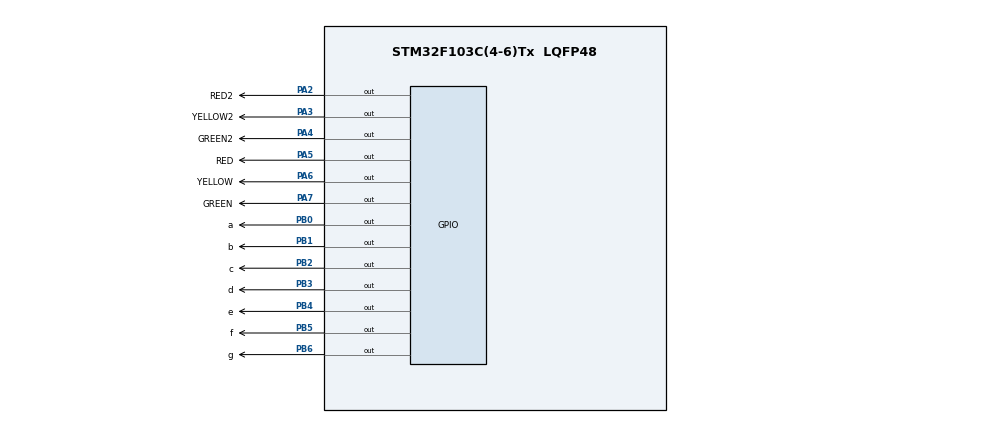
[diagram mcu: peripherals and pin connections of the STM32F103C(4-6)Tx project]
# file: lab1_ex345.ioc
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Mcu.Family=STM32F1
Mcu.Name=STM32F103C(4-6)Tx
Mcu.Package=LQFP48
NVIC.PriorityGroup=NVIC_PRIORITYGROUP_4
PA2.GPIO_Label=RED2
PA2.Signal=GPIO_Output
PA3.GPIO_Label=YELLOW2
PA3.Signal=GPIO_Output
PA4.GPIO_Label=GREEN2
PA4.Signal=GPIO_Output
PA5.GPIO_Label=RED
PA5.Signal=GPIO_Output
PA6.GPIO_Label=YELLOW
PA6.Signal=GPIO_Output
PA7.GPIO_Label=GREEN
PA7.Signal=GPIO_Output
PB0.GPIO_Label=a
PB0.Signal=GPIO_Output
PB1.GPIO_Label=b
PB1.Signal=GPIO_Output
PB2.GPIO_Label=c
PB2.Signal=GPIO_Output
PB3.GPIO_Label=d
PB3.Signal=GPIO_Output
PB4.GPIO_Label=e
PB4.Signal=GPIO_Output
PB5.GPIO_Label=f
PB5.Signal=GPIO_Output
PB6.GPIO_Label=g
PB6.Signal=GPIO_Output
PD0-OSC_IN.Mode=HSE-External-Oscillator
PD0-OSC_IN.Signal=RCC_OSC_IN
PD1-OSC_OUT.Mode=HSE-External-Oscillator
PD1-OSC_OUT.Signal=RCC_OSC_OUT
ProjectManager.HeapSize=0x200
ProjectManager.StackSize=0x400
ProjectManager.TargetToolchain=STM32CubeIDE
RCC.APB1Freq_Value=8000000
RCC.APB2Freq_Value=8000000
VP_SYS_VS_ND.Mode=No_Debug
board=custom

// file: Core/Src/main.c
/* USER CODE BEGIN Header */
/**
  ******************************************************************************
  * @file           : main.c
  * @brief          : Main program body
  ******************************************************************************
  * @attention
  *
  * <h2><center>&copy; Copyright (c) 2021 STMicroelectronics.
  * All rights reserved.</center></h2>
  *
  * This software component is licensed by ST under BSD 3-Clause license,
  * the "License"; You may not use this file except in compliance with the
  * License. You may obtain a copy of the License at:
  *                        opensource.org/licenses/BSD-3-Clause
  *
  ******************************************************************************
  */
/* USER CODE END Header */
#include "main.h"

void SystemClock_Config(void);
static void MX_GPIO_Init(void);

int main(void)
{

  /* MCU Configuration--------------------------------------------------------*/

  /* Reset of all peripherals, Initializes the Flash interface and the Systick. */
  HAL_Init();

  /* Configure the system clock */
  SystemClock_Config();

  /* Initialize all configured peripherals */
  MX_GPIO_Init();

  /* Infinite loop */
  /* USER CODE BEGIN WHILE */
  int counter=0 ;
  int i;
  while (1)
  {
    /* USER CODE END WHILE */

    /* USER CODE BEGIN 3 */
	  HAL_GPIO_TogglePin(GPIOA, GREEN2_Pin);
	  HAL_GPIO_TogglePin(GPIOA, RED_Pin);
	  for(i = 0;i<=9;i++){
    	  if( counter >= 10) counter = 0;
    	  display7SEG(counter++);
    	  if(i==2){
    		  HAL_GPIO_TogglePin(GPIOA, GREEN2_Pin);
    		  HAL_GPIO_TogglePin(GPIOA, YELLOW2_Pin);
    	  }
    	  if(i==4){
    		  HAL_GPIO_TogglePin(GPIOA, YELLOW2_Pin);
    		  HAL_GPIO_TogglePin(GPIOA, RED2_Pin);
    		  HAL_GPIO_TogglePin(GPIOA, RED_Pin);
    		  HAL_GPIO_TogglePin(GPIOA, GREEN_Pin);
    	  }
    	  if(i==7){
    		  HAL_GPIO_TogglePin(GPIOA, YELLOW_Pin);
    		  HAL_GPIO_TogglePin(GPIOA, GREEN_Pin);
    	  }
    	  HAL_Delay(1000);
    	  if(i==9){
    		  HAL_GPIO_TogglePin(GPIOA, YELLOW_Pin);
    		  HAL_GPIO_TogglePin(GPIOA, RED2_Pin);
    	  }
      }
  }

  /* USER CODE END 3 */
}
 void display7SEG(int num){
	  switch(num){
	  	  case 0:
	  		  HAL_GPIO_WritePin(GPIOB, b_Pin, GPIO_PIN_RESET);
	  		  HAL_GPIO_WritePin(GPIOB, c_Pin, GPIO_PIN_RESET);
	  		  HAL_GPIO_WritePin(GPIOB, f_Pin, GPIO_PIN_RESET);
	  		  HAL_GPIO_WritePin(GPIOB, g_Pin, 1);
	  		  HAL_GPIO_WritePin(GPIOB, a_Pin, GPIO_PIN_RESET);
	  		  HAL_GPIO_WritePin(GPIOB, d_Pin, GPIO_PIN_RESET);
	  		  HAL_GPIO_WritePin(GPIOB, e_Pin, GPIO_PIN_RESET);
	  		  break;
	  	  case 1:
	  		  HAL_GPIO_WritePin(GPIOB, b_Pin, GPIO_PIN_RESET);
	  		  HAL_GPIO_WritePin(GPIOB, c_Pin, GPIO_PIN_RESET);
	  		  HAL_GPIO_WritePin(GPIOB, f_Pin, 1);
	  		  HAL_GPIO_WritePin(GPIOB, g_Pin, 1);
	  		  HAL_GPIO_WritePin(GPIOB, a_Pin, 1);
	  		  HAL_GPIO_WritePin(GPIOB, d_Pin, 1);
	  		  HAL_GPIO_WritePin(GPIOB, e_Pin, 1);
	  	      break;
	  	  case 2:
	  		  HAL_GPIO_WritePin(GPIOB, b_Pin, GPIO_PIN_RESET);
	  		  HAL_GPIO_WritePin(GPIOB, c_Pin, 1);
	  		  HAL_GPIO_WritePin(GPIOB, f_Pin, 1);
	  		  HAL_GPIO_WritePin(GPIOB, g_Pin, GPIO_PIN_RESET);
	  		  HAL_GPIO_WritePin(GPIOB, a_Pin, GPIO_PIN_RESET);
	  		  HAL_GPIO_WritePin(GPIOB, d_Pin, GPIO_PIN_RESET);
	  		  HAL_GPIO_WritePin(GPIOB, e_Pin, GPIO_PIN_RESET);
	  	      break;
	  	  case 3:
	  		  HAL_GPIO_WritePin(GPIOB, b_Pin, GPIO_PIN_RESET);
	  		  HAL_GPIO_WritePin(GPIOB, c_Pin, GPIO_PIN_RESET);
	  		  HAL_GPIO_WritePin(GPIOB, f_Pin, 1);
	  		  HAL_GPIO_WritePin(GPIOB, g_Pin, GPIO_PIN_RESET);
	  		  HAL_GPIO_WritePin(GPIOB, a_Pin, GPIO_PIN_RESET);
	  		  HAL_GPIO_WritePin(GPIOB, d_Pin, GPIO_PIN_RESET);
	  		  HAL_GPIO_WritePin(GPIOB, e_Pin, 1);
	  	      break;
	  	  case 4:
	  		  HAL_GPIO_WritePin(GPIOB, b_Pin, GPIO_PIN_RESET);
	  		  HAL_GPIO_WritePin(GPIOB, c_Pin, GPIO_PIN_RESET);
	  		  HAL_GPIO_WritePin(GPIOB, f_Pin, GPIO_PIN_RESET);
	  		  HAL_GPIO_WritePin(GPIOB, g_Pin, GPIO_PIN_RESET);
	  		  HAL_GPIO_WritePin(GPIOB, a_Pin, 1);
	  		  HAL_GPIO_WritePin(GPIOB, d_Pin, 1);
	  		  HAL_GPIO_WritePin(GPIOB, e_Pin, 1);
	  	      break;
	  	  case 5:
	  		  HAL_GPIO_WritePin(GPIOB, a_Pin, GPIO_PIN_RESET);
	  		  HAL_GPIO_WritePin(GPIOB, c_Pin, GPIO_PIN_RESET);
	  		  HAL_GPIO_WritePin(GPIOB, d_Pin, GPIO_PIN_RESET);
	  		  HAL_GPIO_WritePin(GPIOB, g_Pin, GPIO_PIN_RESET);
	  		  HAL_GPIO_WritePin(GPIOB, f_Pin, GPIO_PIN_RESET);
	  		  HAL_GPIO_WritePin(GPIOB, b_Pin, 1);
	  		  HAL_GPIO_WritePin(GPIOB, e_Pin, 1);
	  	      break;
	  	  case 6:
	  		  HAL_GPIO_WritePin(GPIOB, a_Pin, GPIO_PIN_RESET);
	  		  HAL_GPIO_WritePin(GPIOB, b_Pin, 1);
	  		  HAL_GPIO_WritePin(GPIOB, c_Pin, GPIO_PIN_RESET);
	  		  HAL_GPIO_WritePin(GPIOB, d_Pin, GPIO_PIN_RESET);
	  		  HAL_GPIO_WritePin(GPIOB, e_Pin, GPIO_PIN_RESET);
	  		  HAL_GPIO_WritePin(GPIOB, f_Pin, GPIO_PIN_RESET);
	  		  HAL_GPIO_WritePin(GPIOB, g_Pin, GPIO_PIN_RESET);
	  	      break;
	  	  case 7:
	  		  HAL_GPIO_WritePin(GPIOB, a_Pin, GPIO_PIN_RESET);
	  		  HAL_GPIO_WritePin(GPIOB, b_Pin, GPIO_PIN_RESET);
	  		  HAL_GPIO_WritePin(GPIOB, c_Pin, GPIO_PIN_RESET);
	  		  HAL_GPIO_WritePin(GPIOB, d_Pin, 1);
	  		  HAL_GPIO_WritePin(GPIOB, e_Pin, 1);
	  		  HAL_GPIO_WritePin(GPIOB, f_Pin, 1);
	  		  HAL_GPIO_WritePin(GPIOB, g_Pin, 1);
	  	      break;
	  	  case 8:
	  		  HAL_GPIO_WritePin(GPIOB, a_Pin, GPIO_PIN_RESET);
	  		  HAL_GPIO_WritePin(GPIOB, b_Pin, GPIO_PIN_RESET);
	  		  HAL_GPIO_WritePin(GPIOB, c_Pin, GPIO_PIN_RESET);
	  		  HAL_GPIO_WritePin(GPIOB, d_Pin, GPIO_PIN_RESET);
	  		  HAL_GPIO_WritePin(GPIOB, e_Pin, GPIO_PIN_RESET);
	  		  HAL_GPIO_WritePin(GPIOB, f_Pin, GPIO_PIN_RESET);
	  		  HAL_GPIO_WritePin(GPIOB, g_Pin, GPIO_PIN_RESET);
	  	      break;
	  	  case 9:
	  		  HAL_GPIO_WritePin(GPIOB, a_Pin, GPIO_PIN_RESET);
	  		  HAL_GPIO_WritePin(GPIOB, b_Pin, GPIO_PIN_RESET);
	  		  HAL_GPIO_WritePin(GPIOB, c_Pin, GPIO_PIN_RESET);
	  		  HAL_GPIO_WritePin(GPIOB, d_Pin, GPIO_PIN_RESET);
	  		  HAL_GPIO_WritePin(GPIOB, e_Pin, 1);
	  		  HAL_GPIO_WritePin(GPIOB, f_Pin, GPIO_PIN_RESET);
	  		  HAL_GPIO_WritePin(GPIOB, g_Pin, GPIO_PIN_RESET);
	  	      break;
	  	  }
  }
void SystemClock_Config(void)
{
  RCC_OscInitTypeDef RCC_OscInitStruct = {0};
  RCC_ClkInitTypeDef RCC_ClkInitStruct = {0};

  /** Initializes the RCC Oscillators according to the specified parameters
  * in the RCC_OscInitTypeDef structure.
  */
  RCC_OscInitStruct.OscillatorType = RCC_OSCILLATORTYPE_HSI;
  RCC_OscInitStruct.HSIState = RCC_HSI_ON;
  RCC_OscInitStruct.HSICalibrationValue = RCC_HSICALIBRATION_DEFAULT;
  RCC_OscInitStruct.PLL.PLLState = RCC_PLL_NONE;
  if (HAL_RCC_OscConfig(&RCC_OscInitStruct) != HAL_OK)
  {
    Error_Handler();
  }
  /** Initializes the CPU, AHB and APB buses clocks
  */
  RCC_ClkInitStruct.ClockType = RCC_CLOCKTYPE_HCLK|RCC_CLOCKTYPE_SYSCLK
                              |RCC_CLOCKTYPE_PCLK1|RCC_CLOCKTYPE_PCLK2;
  RCC_ClkInitStruct.SYSCLKSource = RCC_SYSCLKSOURCE_HSI;
  RCC_ClkInitStruct.AHBCLKDivider = RCC_SYSCLK_DIV1;
  RCC_ClkInitStruct.APB1CLKDivider = RCC_HCLK_DIV1;
  RCC_ClkInitStruct.APB2CLKDivider = RCC_HCLK_DIV1;

  if (HAL_RCC_ClockConfig(&RCC_ClkInitStruct, FLASH_LATENCY_0) != HAL_OK)
  {
    Error_Handler();
  }
}

static void MX_GPIO_Init(void)
{
  GPIO_InitTypeDef GPIO_InitStruct = {0};

  /* GPIO Ports Clock Enable */
  __HAL_RCC_GPIOD_CLK_ENABLE();
  __HAL_RCC_GPIOA_CLK_ENABLE();
  __HAL_RCC_GPIOB_CLK_ENABLE();

  /*Configure GPIO pin Output Level*/
  HAL_GPIO_WritePin(GPIOA, RED2_Pin|YELLOW2_Pin|GREEN2_Pin|RED_Pin
                          |YELLOW_Pin|GREEN_Pin, GPIO_PIN_RESET);

  /*Configure GPIO pin Output Level*/
  HAL_GPIO_WritePin(GPIOB, a_Pin|b_Pin|c_Pin|d_Pin
                          |e_Pin|f_Pin|g_Pin, GPIO_PIN_RESET);

  /*Configure GPIO pins : RED2_Pin YELLOW2_Pin GREEN2_Pin RED_Pin
                           YELLOW_Pin GREEN_Pin */
  GPIO_InitStruct.Pin = RED2_Pin|YELLOW2_Pin|GREEN2_Pin|RED_Pin
                          |YELLOW_Pin|GREEN_Pin;
  GPIO_InitStruct.Mode = GPIO_MODE_OUTPUT_PP;
  GPIO_InitStruct.Pull = GPIO_NOPULL;
  GPIO_InitStruct.Speed = GPIO_SPEED_FREQ_LOW;
  HAL_GPIO_Init(GPIOA, &GPIO_InitStruct);

  /*Configure GPIO pins : a_Pin b_Pin c_Pin d_Pin
                           e_Pin f_Pin g_Pin */
  GPIO_InitStruct.Pin = a_Pin|b_Pin|c_Pin|d_Pin
                          |e_Pin|f_Pin|g_Pin;
  GPIO_InitStruct.Mode = GPIO_MODE_OUTPUT_PP;
  GPIO_InitStruct.Pull = GPIO_NOPULL;
  GPIO_InitStruct.Speed = GPIO_SPEED_FREQ_LOW;
  HAL_GPIO_Init(GPIOB, &GPIO_InitStruct);

}

void Error_Handler(void)
{
  __disable_irq();
  while (1)
  {
  }
}

/************************ (C) COPYRIGHT STMicroelectronics *****END OF FILE****/
